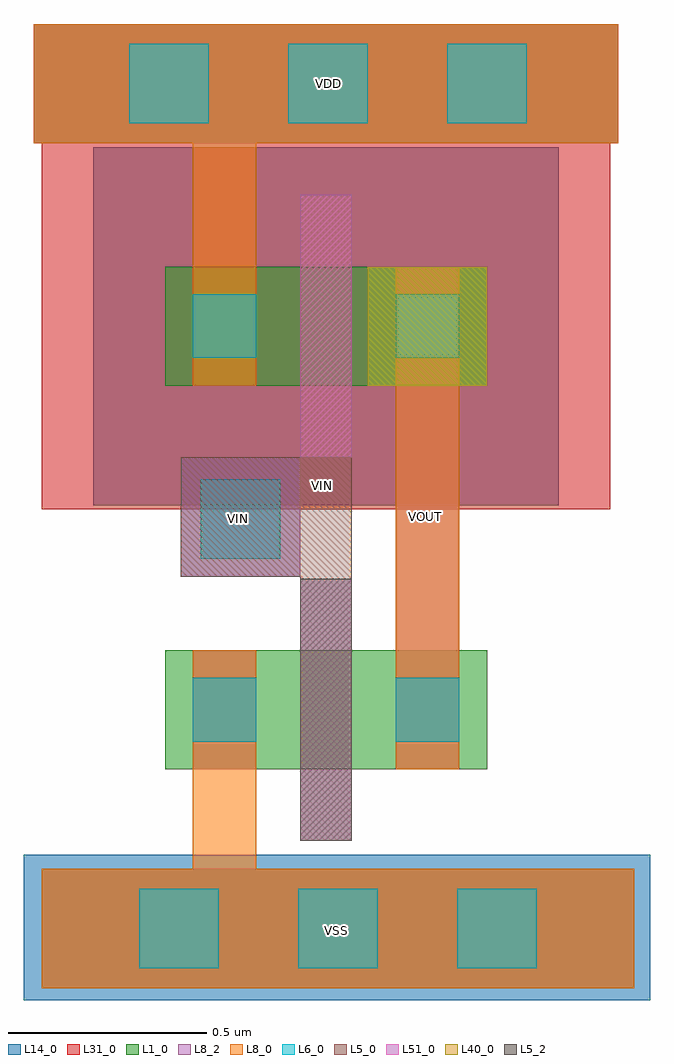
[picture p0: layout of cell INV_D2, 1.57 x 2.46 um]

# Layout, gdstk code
import gdstk
lib = gdstk.Library(unit=1e-6, precision=5e-09)
def R(c, l, rs):  # rectangles x0, y0, x1, y1
    for r in rs: c.add(gdstk.rectangle(r[:2], r[2:], *l))
def A(c, l, x, y, w, h, nx, ny, dx, dy):  # array of equal rectangles
    R(c, l, [(x+i*dx, y+j*dy, x+i*dx+w, y+j*dy+h) for i in range(nx) for j in range(ny)])
L1_0 = (1, 0)
L5_0 = (5, 0)
L5_2 = (5, 2)
L6_0 = (6, 0)
L8_0 = (8, 0)
L8_2 = (8, 2)
L14_0 = (14, 0)
L31_0 = (31, 0)
L40_0 = (40, 0)
L51_0 = (51, 0)

pmos = lib.new_cell('pmos')
R(pmos, L1_0, [(0,0,0.3,0.3), (0,0,0.81,0.3), (0.51,0,0.81,0.3)])
R(pmos, L5_0, [(0.34,-0.18,0.47,0.48), (0.34,-0.18,0.47,0.48)])
R(pmos, L6_0, [(0.07,0.07,0.23,0.23), (0.58,0.07,0.74,0.23)])
R(pmos, L8_0, [(0.07,0,0.23,0.3), (0.07,0,0.23,0.3), (0.58,0,0.74,0.3), (0.58,0,0.74,0.3)])
R(pmos, L14_0, [(-0.18,-0.3,0.99,0.6)])
R(pmos, L31_0, [(-0.31,-0.31,1.12,0.61)])
R(pmos, L40_0, [(0.51,0,0.81,0.3)])
R(pmos, L51_0, [(0.34,-0.18,0.47,0.48)])
pmos.add(gdstk.Label('pmos', (0.405,0.15), layer=63, texttype=0))
pmos.add(gdstk.Label('pmos', (0.405,0.15), layer=51, texttype=0))

nmos = lib.new_cell('nmos')
R(nmos, L1_0, [(0,0,0.3,0.3), (0,0,0.81,0.3), (0.51,0,0.81,0.3)])
R(nmos, L5_0, [(0.34,-0.18,0.47,0.48)])
R(nmos, L5_2, [(0.34,-0.18,0.47,0.48)])
R(nmos, L6_0, [(0.07,0.07,0.23,0.23), (0.58,0.07,0.74,0.23)])
R(nmos, L8_0, [(0.07,0,0.23,0.3), (0.58,0,0.74,0.3)])
R(nmos, L8_2, [(0.07,0,0.23,0.3), (0.58,0,0.74,0.3)])
R(nmos, L51_0, [(0.34,-0.18,0.47,0.48)])
nmos.add(gdstk.Label('nmos', (0.405,0.15), layer=63, texttype=0))
nmos.add(gdstk.Label('nmos', (0.405,0.15), layer=51, texttype=0))

inv_d2 = lib.new_cell('INV_D2')
R(inv_d2, L1_0, [(6.205,-0.91,7.695,-0.61), (6.185,1.215,7.655,1.515)])
R(inv_d2, L5_0, [(6.855,0.11,6.985,0.43), (6.555,0.125,6.855,0.425)])
A(inv_d2, L6_0, 6.425, 1.265, 0.2, 0.2, 3, 1, 0.4, 0)
R(inv_d2, L6_0, [(6.45,-0.86,6.65,-0.66), (6.45,-0.86,6.65,-0.66), (6.85,-0.86,7.05,-0.66), (6.85,-0.86,7.05,-0.66), (7.25,-0.86,7.45,-0.66), (7.25,-0.86,7.45,-0.66), (6.605,0.17,6.805,0.37)])
R(inv_d2, L8_0, [(6.205,-0.91,7.695,-0.61), (6.585,-0.745,6.745,-0.06), (7.095,-0.36,7.255,0.905), (6.585,0.905,6.745,1.24), (6.185,1.215,7.655,1.515)])
R(inv_d2, L8_2, [(6.205,-0.91,7.695,-0.61), (6.205,-0.91,7.695,-0.61), (7.095,-0.36,7.255,0.905), (6.555,0.125,6.855,0.425), (6.185,1.215,7.655,1.515)])
R(inv_d2, L14_0, [(6.16,-0.94,7.735,-0.575), (6.205,-0.91,7.695,-0.61)])
R(inv_d2, L31_0, [(6.185,1.215,7.655,1.515)])
inv_d2.add(gdstk.Reference(pmos, (6.515,0.605)))
inv_d2.add(gdstk.Reference(nmos, (6.515,-0.36)))
inv_d2.add(gdstk.Label('VSS', (6.945,-0.765), layer=8, texttype=2))
inv_d2.add(gdstk.Label('VIN', (6.7,0.27), layer=8, texttype=2))
inv_d2.add(gdstk.Label('VOUT', (7.17,0.275), layer=8, texttype=2))
inv_d2.add(gdstk.Label('VDD', (6.925,1.365), layer=8, texttype=2))
inv_d2.add(gdstk.Label('VIN', (6.91,0.355), layer=5, texttype=2))

lib.write_gds('INV_D2.gds')
